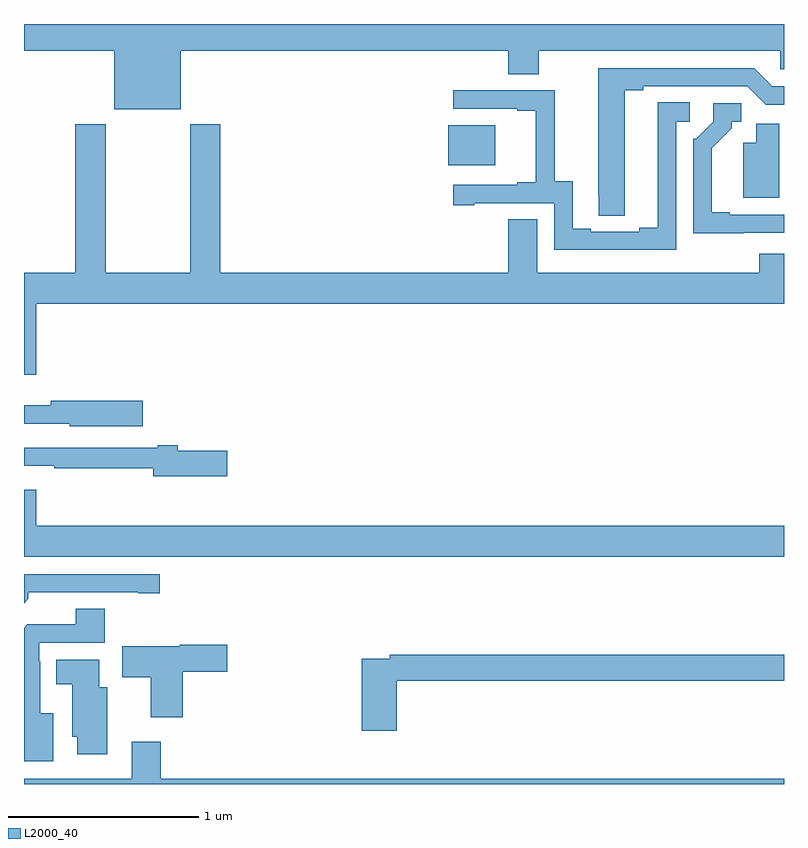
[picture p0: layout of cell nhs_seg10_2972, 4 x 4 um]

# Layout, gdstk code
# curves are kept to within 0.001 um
import gdstk
lib = gdstk.Library(unit=1e-6, precision=1e-09)
def R(c, l, rs):  # rectangles x0, y0, x1, y1
    for r in rs: c.add(gdstk.rectangle(r[:2], r[2:], *l))
def P(c, l, *ps):  # polygons
    for p in ps: c.add(gdstk.Polygon(p, *l))
L2000_40 = (2000, 40)

nhs_seg10_2972 = lib.new_cell('nhs_seg10_2972')
R(nhs_seg10_2972, L2000_40, [(275.234,1255.757,275.479,1255.966)])
P(nhs_seg10_2972, L2000_40, [(273.826,1256.36),(275.549,1256.36),(275.549,1256.236),(275.709,1256.236),(275.709,1256.36),(276.981,1256.36),(276.981,1256.262),(277,1256.262),(277,1256.5),(273,1256.5),(273,1256.36),(273.476,1256.36),(273.476,1256.051),(273.826,1256.051)],
  [(276.163,1256.152),(276.259,1256.152),(276.259,1256.172),(276.807,1256.172),(276.903,1256.076),(277,1256.076),(277,1256.172),(276.939,1256.172),(276.843,1256.268),(276.023,1256.268),(276.024,1255.492),(276.163,1255.492)],
  [(276.432,1255.986),(276.505,1255.986),(276.505,1256.087),(276.335,1256.087),(276.335,1255.427),(276.239,1255.427),(276.239,1255.407),(275.983,1255.407),(275.983,1255.422),(275.887,1255.422),(275.887,1255.673),(275.793,1255.673),(275.793,1256.151),(275.259,1256.151),(275.259,1256.055),(275.597,1256.055),(275.597,1256.043),(275.693,1256.043),(275.693,1255.666),(275.597,1255.666),(275.597,1255.653),(275.259,1255.653),(275.259,1255.545),(275.371,1255.545),(275.371,1255.557),(275.79,1255.557),(275.79,1255.311),(276.432,1255.311)],
  [(276.785,1255.401),(277,1255.401),(277,1255.497),(276.715,1255.497),(276.715,1255.51),(276.619,1255.51),(276.619,1255.846),(276.724,1255.951),(276.724,1255.986),(276.774,1255.986),(276.774,1256.082),(276.627,1256.082),(276.627,1255.986),(276.537,1255.896),(276.522,1255.896),(276.522,1255.4)],
  [(276.976,1255.974),(276.854,1255.974),(276.854,1255.876),(276.785,1255.876),(276.785,1255.586),(276.976,1255.586)],
  [(273.064,1255.028),(277,1255.028),(277,1255.29),(276.869,1255.29),(276.869,1255.192),(275.701,1255.192),(275.701,1255.472),(275.549,1255.472),(275.549,1255.192),(274.034,1255.192),(274.034,1255.972),(273.874,1255.972),(273.874,1255.192),(273.429,1255.192),(273.429,1255.972),(273.269,1255.972),(273.269,1255.192),(273,1255.192),(273,1254.654),(273.064,1254.654)],
  [(273.625,1254.518),(273.14,1254.518),(273.14,1254.493),(273,1254.493),(273,1254.396),(273.24,1254.396),(273.24,1254.383),(273.625,1254.383)],
  [(274.069,1254.254),(273.808,1254.254),(273.808,1254.283),(273.704,1254.283),(273.704,1254.27),(273,1254.27),(273,1254.174),(273.16,1254.174),(273.16,1254.162),(273.68,1254.162),(273.68,1254.119),(274.069,1254.119)],
  [(277,1253.86),(273.064,1253.86),(273.064,1254.049),(273,1254.049),(273,1253.696),(277,1253.696)],
  [(273.023,1253.474),(273.023,1253.508),(273.602,1253.508),(273.602,1253.503),(273.715,1253.503),(273.715,1253.604),(273,1253.604),(273,1253.451)],
  [(273.154,1252.873),(273.085,1252.873),(273.085,1253.147),(273.081,1253.147),(273.081,1253.244),(273.425,1253.244),(273.425,1253.423),(273.272,1253.423),(273.272,1253.34),(273.018,1253.34),(273,1253.322),(273,1252.619),(273.154,1252.619)],
  [(273.836,1253.09),(274.069,1253.09),(274.069,1253.232),(273.819,1253.232),(273.819,1253.224),(273.516,1253.224),(273.516,1253.062),(273.668,1253.062),(273.668,1252.851),(273.836,1252.851)],
  [(274.961,1253.044),(277,1253.044),(277,1253.18),(274.924,1253.18),(274.924,1253.16),(274.778,1253.16),(274.778,1252.779),(274.961,1252.779)],
  [(273.439,1253.008),(273.397,1253.008),(273.397,1253.155),(273.17,1253.155),(273.17,1253.024),(273.254,1253.024),(273.254,1252.749),(273.281,1252.749),(273.281,1252.656),(273.439,1252.656)],
  [(277,1252.528),(273.719,1252.528),(273.719,1252.723),(273.566,1252.723),(273.566,1252.528),(273,1252.528),(273,1252.5),(277,1252.5)])

lib.write_gds('nhs_seg10_2972.gds')
